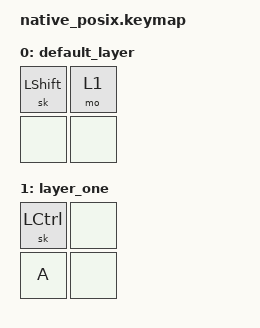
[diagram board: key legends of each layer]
#include <dt-bindings/zmk/keys.h>
#include <behaviors.dtsi>
#include <dt-bindings/zmk/kscan_mock.h>

/ {
	keymap {
		compatible = "zmk,keymap";
		label ="Default keymap";

		default_layer {
			bindings = <
				&sk LEFT_SHIFT &mo 1
				&none &none
			>;
		};

		layer_one {
			bindings = <
				&sk LEFT_CONTROL &none
				&kp A &none
			>;
		};
	};
};

&kscan {
	events = <
		/* sticky shift */
		ZMK_MOCK_PRESS(0,0,10) 
		ZMK_MOCK_RELEASE(0,0,10) 
		/* layer 1 */
		ZMK_MOCK_PRESS(0,1,10) 
		/* sticky ctrl */
		ZMK_MOCK_PRESS(0,0,10)
		ZMK_MOCK_RELEASE(0,0,10) 
		/* A */
		ZMK_MOCK_PRESS(1,0,10)
		ZMK_MOCK_RELEASE(1,0,10)
		ZMK_MOCK_RELEASE(0,1,1200)
	>;
};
